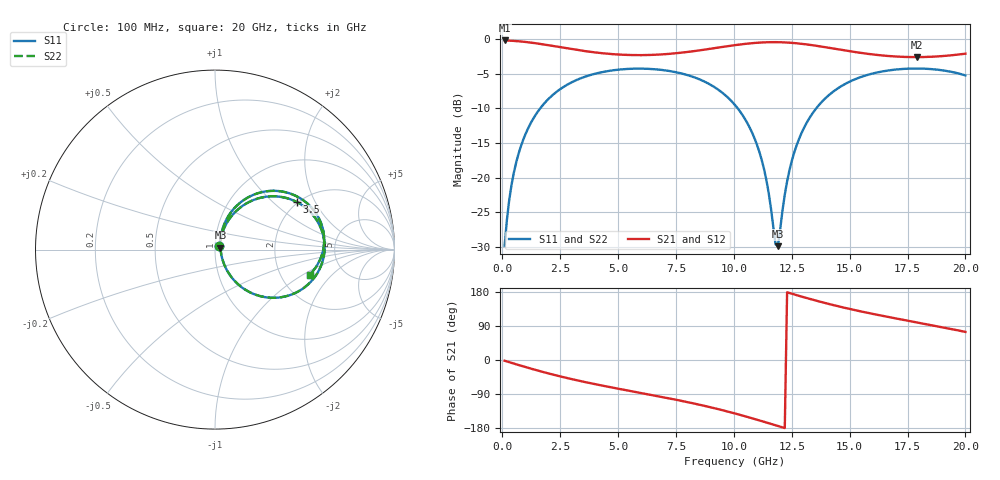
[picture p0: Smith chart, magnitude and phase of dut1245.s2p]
! Touchstone file exported from HFSS 2026.1.0
!  File:  C:/ffzhzh/LocalFiles/Ansys_Project_Files/temp_train_TSV_RDL_1245_1783324640_39728.aedt
!  Generated:  04:11:17 PM Jul  6, 2026
!  Design:  TSV_RDL
!  Project:  temp_train_TSV_RDL_1245_1783324640_39728
! Variables:
!  h_bsmrdl = 3.91um
!  h_ox = 20um
!  h_rdl = 5um
!  h_sub = 93.15um
!  h_tmrdl = 5.2um
!  h_tsv = 93.15um
!  h_via = 3um
!  l_bsmrdl = 366.33um
!  l_sub = 4744.18um
!  l_tmrdl = 786.63um
!  m_sub = 200um
!  pitch = 52.21um
!  r_tsv = 9.15um
!  s_tmrdl = 10um
!  w_bsmrdl = 21.02um
!  w_sub = 500um
!  w_tmrdl = 11.87um
!  x_tsv_center1 = 792.565um
!  x_tsv_center2 = 1179.915um
!  x_tsv_center3 = 1978.415um
!  x_tsv_center4 = 2365.765um
!  x_tsv_center5 = 3164.265um
!  x_tsv_center6 = 3551.615um
# GHz S MA R 50.000000
! Terminal data exported
! Port[1] = TM_RDL1_1_T1
! Port[2] = TM_RDL5_1_T1
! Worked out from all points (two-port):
!   200 points, 100 MHz to 20 GHz, reference 50 ohm
!   highest |S21| = -0.21 dB at 100 MHz (marker M1); lowest = -2.6 dB at 17.9 GHz (marker M2)
!   |S21| within 3 dB of the highest: start of sweep to end of sweep
!   lowest |S11| = -29.9 dB at 11.9 GHz (marker M3), VSWR 1.07, Z = 53.1 + j1.14 ohm
!   |S11| at or under -10 dB: start of sweep to 1.642 GHz; 10.16 GHz to 13.56 GHz (3.4 GHz wide, 28.7 % of centre)
!   |S22| runs from -29.8 to -4.3 dB; largest |S21 - S12| = 1.6e-14
!   S11 on the Smith chart (normalised r, x): 100 MHz: 1.05, +0.04; 3.5 GHz: 1.99, +1.45; 20 GHz: 2.90, -1.15
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0.1  0.03222 40.8  0.9761 -1.9  0.9761 -1.9  0.03222 40.8
! Gamma 0 0 0 0
! Port Impedance 50 0 50 0
0.3  0.069 63.2  0.9732 -5.7  0.9732 -5.7  0.069 63.2
0.5  0.1087 66.9  0.9689 -9.5  0.9689 -9.5  0.1087 66.9
1.1  0.2238 62.7  0.948 -20.4  0.948 -20.4  0.2238 62.7
2.1  0.3839 48.7  0.8957 -37.1  0.8957 -37.1  0.3839 48.8
3.5  0.5289 29.9  0.821 -57.3  0.821 -57.3  0.5289 29.9
5.1  0.6026 11.1  0.7712 -76.8  0.7712 -76.8  0.6026 11.1
6.8  0.6002 -7.6  0.7726 -96.4  0.7726 -96.4  0.6002 -7.6
8.7  0.4956 -30.3  0.8362 -120.6  0.8362 -120.6  0.4956 -30.2
10.1  0.326 -49.1  0.9053 -142.0  0.9053 -142.0  0.326 -49.1
11.1  0.1535 -59.9  0.9417 -159.4  0.9417 -159.4  0.1535 -59.7
11.5  0.07826 -55.4  0.9481 -166.7  0.9481 -166.7  0.07836 -55.1
11.8  0.03295 -14.7  0.949 -172.2  0.949 -172.2  0.03326 -14.4
11.9  0.03194 19.7  0.9485 -174.1  0.9485 -174.1  0.0323 19.6
12.2  0.07525 64.8  0.9449 -179.6  0.9449 -179.6  0.07545 64.5
12.5  0.1313 70.1  0.938 174.9  0.938 174.9  0.1315 69.9
12.9  0.2052 68.1  0.9243 167.8  0.9243 167.8  0.2053 68.0
13.4  0.2907 62.3  0.9016 159.2  0.9016 159.2  0.2908 62.2
14.9  0.4827 42.5  0.8214 136.1  0.8214 136.1  0.4828 42.4
16.7  0.5937 21.3  0.7532 113.2  0.7532 113.2  0.5937 21.3
17.9  0.6123 8.4  0.7401 99.4  0.7401 99.4  0.6123 8.4
20  0.5457 -14.8  0.7837 74.1  0.7837 74.1  0.5457 -14.8
